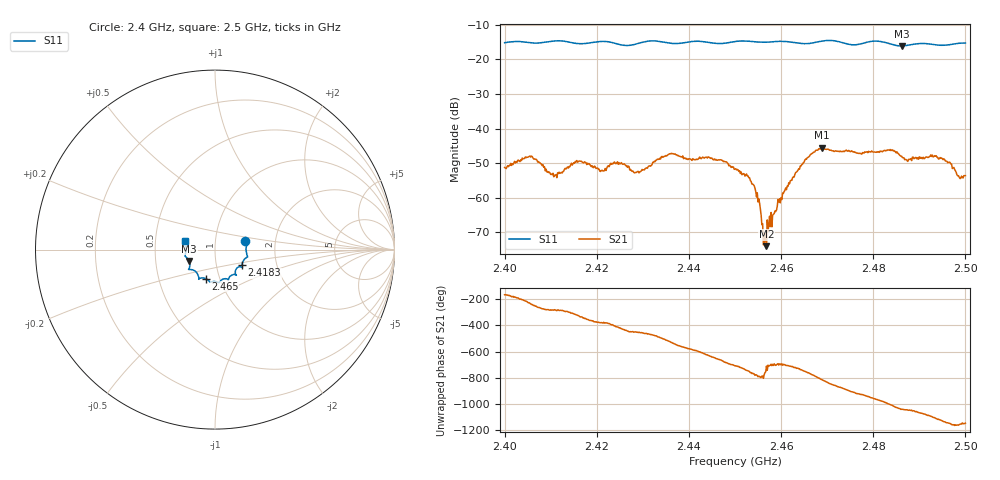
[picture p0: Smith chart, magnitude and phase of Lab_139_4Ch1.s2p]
# Hz S RI R 50
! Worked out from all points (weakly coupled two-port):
!   601 points, 2.4 GHz to 2.5 GHz, reference 50 ohm
!   highest |S21| = -45.58 dB at 2.4688 GHz (marker M1); lowest = -74.1 dB at 2.4568 GHz (marker M2)
!   lowest |S11| = -16.1 dB at 2.4862 GHz (marker M3), VSWR 1.37, Z = 37.2 - j4.83 ohm
!   |S11| at or under -10 dB: start of sweep to end of sweep
!   S12 and S22 are empty: the file has one direction only
!   S11 on the Smith chart (normalised r, x): 2.4 GHz: 1.40, +0.14; 2.4183 GHz: 1.33, -0.24; 2.465 GHz: 0.86, -0.28; 2.5 GHz: 0.71, +0.07
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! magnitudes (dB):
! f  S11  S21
! 2.4 GHz  -15.1  -51.3
! 2.4057 GHz  -15.2  -48.3
! 2.4108 GHz  -14.6  -53.5
! 2.4167 GHz  -15.4  -49.5
! 2.4183 GHz  -15.2  -50.2
! 2.4248 GHz  -15.6  -49.9
! 2.4287 GHz  -15.5  -52.6
! 2.4333 GHz  -14.7  -48.9
! 2.444 GHz  -15.0  -48.6
! 2.45 GHz  -14.8  -51.8
! 2.454 GHz  -14.8  -56.3
! 2.4552 GHz  -15.0  -60.4
! 2.4563 GHz  -15.0  -73.4
! 2.4568 GHz  -15.0  -74.1
! 2.4598 GHz  -14.7  -61.5
! 2.465 GHz  -15.4  -49.7
! 2.4667 GHz  -15.2  -47.3
! 2.4688 GHz  -14.7  -45.6
! 2.4833 GHz  -15.3  -46.2
! 2.4862 GHz  -16.1  -48.0
! 2.4933 GHz  -15.7  -47.9
! 2.5 GHz  -15.2  -53.7
